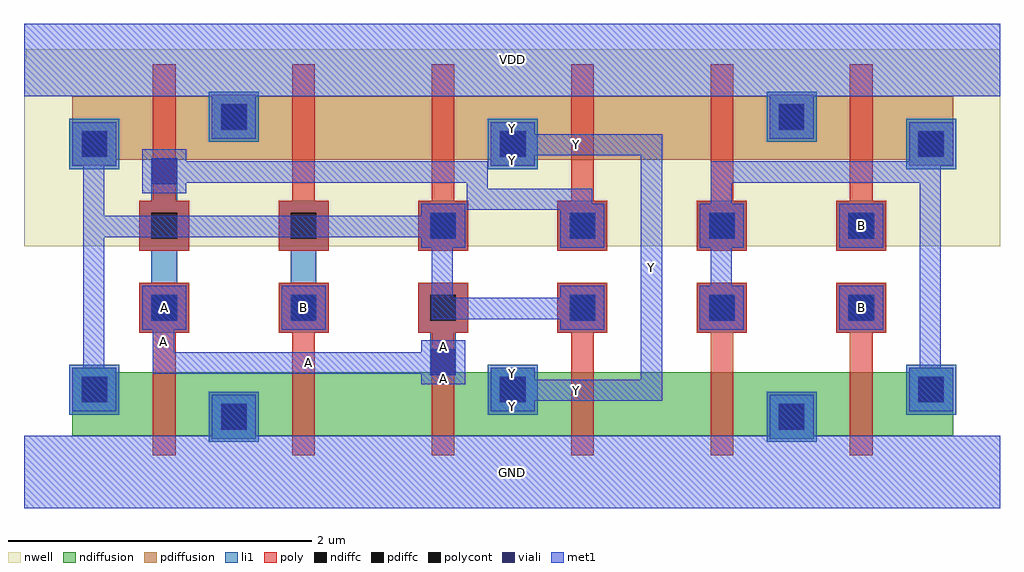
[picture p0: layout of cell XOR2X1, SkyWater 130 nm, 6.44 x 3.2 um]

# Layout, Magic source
magic
# Generated by librecell
tech sky130A
<< nwell >>
rect 0 149 644 272
rect 1 272 644 279
<< viali >>
rect 130 28 147 45
rect 498 28 515 45
rect 38 46 55 63
rect 314 46 331 63
rect 590 46 607 63
rect 268 64 285 81
rect 84 100 101 117
rect 176 100 193 117
rect 360 100 377 117
rect 452 100 469 117
rect 544 100 561 117
rect 268 154 285 171
rect 360 154 377 171
rect 452 154 469 171
rect 544 154 561 171
rect 84 190 101 207
rect 38 208 55 225
rect 314 208 331 225
rect 590 208 607 225
rect 130 226 147 243
rect 498 226 515 243
<< poly >>
rect 85 11 100 92
rect 76 92 109 125
rect 177 11 192 92
rect 168 92 201 125
rect 269 11 284 92
rect 260 92 293 125
rect 361 11 376 92
rect 352 92 385 125
rect 453 11 468 92
rect 444 92 477 125
rect 545 11 560 92
rect 536 92 569 125
rect 76 146 109 179
rect 85 179 100 269
rect 168 146 201 179
rect 177 179 192 269
rect 260 146 293 179
rect 269 179 284 269
rect 352 146 385 179
rect 361 179 376 269
rect 444 146 477 179
rect 453 179 468 269
rect 536 146 569 179
rect 545 179 560 269
<< properties >>
string FIXED_BBOX 0 0 644 272
<< li1 >>
rect 122 20 155 53
rect 490 20 523 53
rect 30 38 63 71
rect 306 38 339 71
rect 582 38 615 71
rect 268 64 285 92
rect 260 92 293 125
rect 352 92 385 125
rect 444 92 477 125
rect 536 92 569 125
rect 168 92 201 125
rect 176 125 193 146
rect 168 146 201 179
rect 260 146 293 179
rect 352 146 385 179
rect 444 146 477 179
rect 536 146 569 179
rect 76 92 109 125
rect 84 125 101 146
rect 76 146 109 179
rect 84 179 101 207
rect 30 200 63 233
rect 306 200 339 233
rect 582 200 615 233
rect 122 218 155 251
rect 490 218 523 251
<< met1 >>
rect 0 -24 644 24
rect 124 24 153 51
rect 492 24 521 51
rect 262 58 291 65
rect 85 65 291 79
rect 262 79 291 87
rect 85 79 99 94
rect 78 94 107 123
rect 170 94 199 123
rect 538 94 567 123
rect 538 148 567 177
rect 354 148 383 173
rect 292 173 383 177
rect 292 177 375 187
rect 78 184 107 191
rect 292 187 306 191
rect 78 191 306 205
rect 78 205 107 213
rect 32 40 61 69
rect 354 94 383 101
rect 269 101 383 115
rect 354 115 383 123
rect 269 115 283 148
rect 39 69 53 155
rect 262 148 291 155
rect 39 155 291 169
rect 262 169 291 177
rect 39 169 53 202
rect 32 202 61 231
rect 308 40 337 47
rect 308 47 421 61
rect 308 61 337 69
rect 308 202 337 209
rect 407 61 421 209
rect 308 209 421 223
rect 308 223 337 231
rect 584 40 613 69
rect 446 94 475 123
rect 453 123 467 148
rect 446 148 475 177
rect 453 177 467 191
rect 591 69 605 191
rect 453 191 605 202
rect 453 202 613 205
rect 584 205 613 231
rect 124 220 153 248
rect 492 220 521 248
rect 0 248 644 296
<< li1 >>
<< met1 >>
<< li1 >>
<< met1 >>
rect 0 -24 644 24
rect 262 58 291 65
rect 85 65 291 79
rect 262 79 291 87
rect 85 79 99 94
rect 78 94 107 123
rect 538 148 567 177
rect 308 40 337 47
rect 308 47 421 61
rect 308 61 337 69
rect 308 202 337 209
rect 407 61 421 209
rect 308 209 421 223
rect 308 223 337 231
rect 0 248 644 296
<< ndiffusion >>
rect 124 22 153 24
rect 492 22 521 24
rect 32 24 613 66
rect 32 66 61 69
rect 308 66 337 69
rect 584 66 613 69
<< pdiffusion >>
rect 32 202 61 206
rect 308 202 337 206
rect 584 202 613 206
rect 32 206 613 248
rect 124 248 153 249
rect 492 248 521 249
<< polycont >>
rect 84 100 101 117
rect 176 100 193 117
rect 268 100 285 117
rect 360 100 377 117
rect 452 100 469 117
rect 544 100 561 117
rect 84 154 101 171
rect 176 154 193 171
rect 268 154 285 171
rect 360 154 377 171
rect 452 154 469 171
rect 544 154 561 171
<< pdiffc >>
rect 38 208 55 225
rect 314 208 331 225
rect 590 208 607 225
rect 130 226 147 243
rect 498 226 515 243
<< ndiffc >>
rect 130 28 147 45
rect 498 28 515 45
rect 38 46 55 63
rect 314 46 331 63
rect 590 46 607 63
<< labels >>
rlabel metal2 0 248 644 296 0 VDD
port 1 se
rlabel metal2 0 -24 644 24 0 GND
port 2 se
rlabel metal2 308 40 337 47 0 Y
port 3 se
rlabel metal2 308 47 421 61 0 Y
port 4 se
rlabel metal2 308 61 337 69 0 Y
port 5 se
rlabel metal2 308 202 337 209 0 Y
port 6 se
rlabel metal2 407 61 421 209 0 Y
port 7 se
rlabel metal2 308 209 421 223 0 Y
port 8 se
rlabel metal2 308 223 337 231 0 Y
port 9 se
rlabel metal2 262 58 291 65 0 A
port 10 se
rlabel metal2 85 65 291 79 0 A
port 11 se
rlabel metal2 262 79 291 87 0 A
port 12 se
rlabel metal2 85 79 99 94 0 A
port 13 se
rlabel metal2 78 94 107 123 0 A
port 14 se
rlabel metal2 170 94 199 123 0 B
port 15 se
rlabel metal2 538 94 567 123 0 B
port 16 se
rlabel metal2 538 148 567 177 0 B
port 17 se
<< end >>
